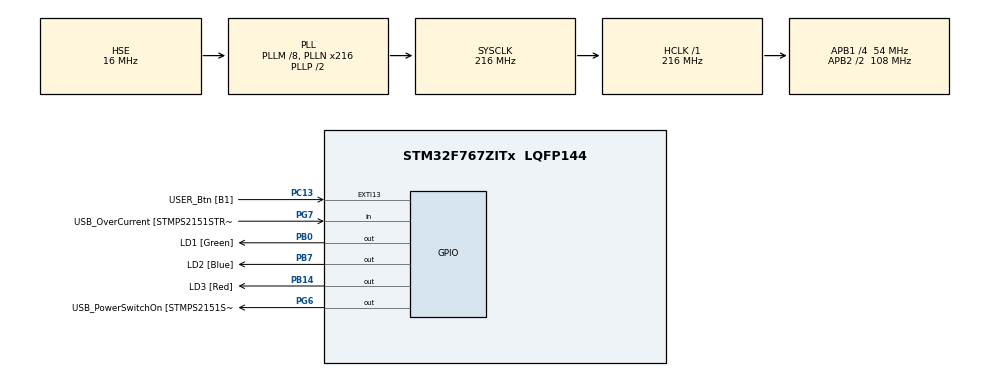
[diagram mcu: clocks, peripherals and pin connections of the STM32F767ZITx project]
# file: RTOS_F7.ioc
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Mcu.Family=STM32F7
Mcu.Name=STM32F767ZITx
Mcu.Package=LQFP144
NVIC.PriorityGroup=NVIC_PRIORITYGROUP_4
NVIC.TIM6_DAC_IRQn=true\:15\:0\:false\:false\:true\:false\:true\:true
NVIC.TimeBase=TIM6_DAC_IRQn
NVIC.TimeBaseIP=TIM6
PA1.GPIO_Label=RMII_REF_CLK [LAN8742A-CZ-TR_REFCLK0]
PA1.Signal=ETH_REF_CLK
PA10.GPIO_Label=USB_ID
PA10.Signal=USB_OTG_FS_ID
PA11.GPIO_Label=USB_DM
PA11.Signal=USB_OTG_FS_DM
PA12.GPIO_Label=USB_DP
PA12.Signal=USB_OTG_FS_DP
PA13.GPIO_Label=TMS
PA13.Mode=Serial_Wire
PA13.Signal=SYS_JTMS-SWDIO
PA14.GPIO_Label=TCK
PA14.Mode=Serial_Wire
PA14.Signal=SYS_JTCK-SWCLK
PA2.GPIO_Label=RMII_MDIO [LAN8742A-CZ-TR_MDIO]
PA2.Signal=ETH_MDIO
PA7.GPIO_Label=RMII_CRS_DV [LAN8742A-CZ-TR_CRS_DV]
PA7.Signal=ETH_CRS_DV
PA8.GPIO_Label=USB_SOF [TP1]
PA8.Signal=USB_OTG_FS_SOF
PA9.GPIO_Label=USB_VBUS
PA9.Signal=USB_OTG_FS_VBUS
PB0.GPIO_Label=LD1 [Green]
PB0.Signal=GPIO_Output
PB13.GPIO_Label=RMII_TXD1 [LAN8742A-CZ-TR_TXD1]
PB13.Signal=ETH_TXD1
PB14.GPIO_Label=LD3 [Red]
PB14.Signal=GPIO_Output
PB3.GPIO_Label=SW0
PB3.Signal=SYS_JTDO-SWO
PB7.GPIO_Label=LD2 [Blue]
PB7.Signal=GPIO_Output
PC1.GPIO_Label=RMII_MDC [LAN8742A-CZ-TR_MDC]
PC1.Signal=ETH_MDC
PC13.GPIO_Label=USER_Btn [B1]
PC13.Signal=GPXTI13
PC14/OSC32_IN.Signal=RCC_OSC32_IN
PC15/OSC32_OUT.Signal=RCC_OSC32_OUT
PC4.GPIO_Label=RMII_RXD0 [LAN8742A-CZ-TR_RXD0]
PC4.Signal=ETH_RXD0
PC5.GPIO_Label=RMII_RXD1 [LAN8742A-CZ-TR_RXD1]
PC5.Signal=ETH_RXD1
PD8.GPIO_Label=STLK_RX [STM32F103CBT6_PA3]
PD8.Signal=USART3_TX
PD9.GPIO_Label=STLK_TX [STM32F103CBT6_PA2]
PD9.Signal=USART3_RX
PG11.GPIO_Label=RMII_TX_EN [LAN8742A-CZ-TR_TXEN]
PG11.Signal=ETH_TX_EN
PG13.GPIO_Label=RMII_TXD0 [LAN8742A-CZ-TR_TXD0]
PG13.Signal=ETH_TXD0
PG6.GPIO_Label=USB_PowerSwitchOn [STMPS2151STR_EN]
PG6.Signal=GPIO_Output
PG7.GPIO_Label=USB_OverCurrent [STMPS2151STR_FAULT]
PG7.Signal=GPIO_Input
PH0/OSC_IN.GPIO_Label=MCO [STM32F103CBT6_PA8]
PH0/OSC_IN.Mode=HSE-External-Oscillator
PH0/OSC_IN.Signal=RCC_OSC_IN
PH1/OSC_OUT.Mode=HSE-External-Oscillator
PH1/OSC_OUT.Signal=RCC_OSC_OUT
ProjectManager.HeapSize=0x200
ProjectManager.StackSize=0x400
ProjectManager.TargetToolchain=STM32CubeIDE
RCC.48MHZClocksFreq_Value=24000000
RCC.AHBFreq_Value=216000000
RCC.APB1CLKDivider=RCC_HCLK_DIV4
RCC.APB1Freq_Value=54000000
RCC.APB1TimFreq_Value=108000000
RCC.APB2CLKDivider=RCC_HCLK_DIV2
RCC.APB2Freq_Value=108000000
RCC.APB2TimFreq_Value=216000000
RCC.CortexFreq_Value=216000000
RCC.HCLKFreq_Value=216000000
RCC.HSE_VALUE=16000000
RCC.HSI_VALUE=16000000
RCC.LSE_VALUE=32768
RCC.PLLM=8
RCC.PLLMUL=RCC_PLL_MUL9
RCC.PLLN=216
RCC.PLLSourceVirtual=RCC_PLLSOURCE_HSE
RCC.PRESCALERUSB=RCC_USBCLKSOURCE_PLL_DIV1_5
RCC.SYSCLKFreq_VALUE=216000000
RCC.SYSCLKSource=RCC_SYSCLKSOURCE_PLLCLK
RCC.SYSCLKSourceVirtual=RCC_SYSCLKSOURCE_PLLCLK
RCC.USBFreq_Value=216000000
RCC.VCOOutputFreq_Value=432000000
VP_SYS_VS_tim6.Mode=TIM6
board=NUCLEO-F767ZI

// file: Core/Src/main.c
/* USER CODE BEGIN Header */
/**
  ******************************************************************************
  * @file           : main.c
  * @brief          : Main program body
  ******************************************************************************
  * @attention
  *
  * Copyright (c) 2022 STMicroelectronics.
  * All rights reserved.
  *
  * This software is licensed under terms that can be found in the LICENSE file
  * in the root directory of this software component.
  * If no LICENSE file comes with this software, it is provided AS-IS.
  *
  ******************************************************************************
  */
/* USER CODE END Header */
#include "main.h"
#include"FreeRTOS.h"
#include"task.h"
#include<stdio.h>

void SystemClock_Config(void);
static void MX_GPIO_Init(void);
/* USER CODE BEGIN PFP */
static void task1_handler (void *parameters)  ;
static void task2_handler (void *parameters)  ;
/* USER CODE END PFP */

/* USER CODE BEGIN 0 */
#define DWT_CTRL (*(volatile uint32_t *)0xE0001000)
/* USER CODE END 0 */

int main(void)
{
  /* USER CODE BEGIN 1 */
	TaskHandle_t  task1_handle ;
	TaskHandle_t  task2_handle  ;
	BaseType_t status ;
  /* USER CODE END 1 */

  /* MCU Configuration--------------------------------------------------------*/

  /* Reset of all peripherals, Initializes the Flash interface and the Systick. */
  HAL_Init();

  /* Configure the system clock */
  SystemClock_Config();

  /* USER CODE BEGIN SysInit */
  CoreDebug->DEMCR |= CoreDebug_DEMCR_TRCENA_Msk;
  DWT->LAR = 0xC5ACCE55;
  DWT->CYCCNT = 0;
  DWT->CTRL |= DWT_CTRL_CYCCNTENA_Msk;
  /* USER CODE END SysInit */

  /* Initialize all configured peripherals */
  MX_GPIO_Init();
  /* USER CODE BEGIN 2 */
//  DWT_CTRL |= (1<<0) ;

  SEGGER_SYSVIEW_Conf() ;
 SEGGER_SYSVIEW_Start() ;

  status = xTaskCreate(task1_handler, "Task-1", 200, "Hello LVT from task 1", 3, &task1_handle) ;
  configASSERT(status == pdPASS) ; // nếu tạo không thành công vẽ rơi vào vòng lặp vô hạn => có lỗi

  status = xTaskCreate(task2_handler, "Task-2", 200, "Hello LVT from task 2", 2, &task2_handle) ;
  configASSERT(status == pdPASS) ; // nếu tạo không thành công vẽ rơi vào vòng lặp vô hạn => có lỗi

  // start the FreeRTOS scheduler
  vTaskStartScheduler();

  /* USER CODE END 2 */

  /* Infinite loop */
  while (1)
  {

  }
}

void SystemClock_Config(void)
{
  RCC_OscInitTypeDef RCC_OscInitStruct = {0};
  RCC_ClkInitTypeDef RCC_ClkInitStruct = {0};

  /** Configure the main internal regulator output voltage
  */
  __HAL_RCC_PWR_CLK_ENABLE();
  __HAL_PWR_VOLTAGESCALING_CONFIG(PWR_REGULATOR_VOLTAGE_SCALE1);

  /** Initializes the RCC Oscillators according to the specified parameters
  * in the RCC_OscInitTypeDef structure.
  */
  RCC_OscInitStruct.OscillatorType = RCC_OSCILLATORTYPE_HSE;
  RCC_OscInitStruct.HSEState = RCC_HSE_ON;
  RCC_OscInitStruct.PLL.PLLState = RCC_PLL_ON;
  RCC_OscInitStruct.PLL.PLLSource = RCC_PLLSOURCE_HSE;
  RCC_OscInitStruct.PLL.PLLM = 8;
  RCC_OscInitStruct.PLL.PLLN = 216;
  RCC_OscInitStruct.PLL.PLLP = RCC_PLLP_DIV2;
  RCC_OscInitStruct.PLL.PLLQ = 2;
  RCC_OscInitStruct.PLL.PLLR = 2;
  if (HAL_RCC_OscConfig(&RCC_OscInitStruct) != HAL_OK)
  {
    Error_Handler();
  }

  /** Activate the Over-Drive mode
  */
  if (HAL_PWREx_EnableOverDrive() != HAL_OK)
  {
    Error_Handler();
  }

  /** Initializes the CPU, AHB and APB buses clocks
  */
  RCC_ClkInitStruct.ClockType = RCC_CLOCKTYPE_HCLK|RCC_CLOCKTYPE_SYSCLK
                              |RCC_CLOCKTYPE_PCLK1|RCC_CLOCKTYPE_PCLK2;
  RCC_ClkInitStruct.SYSCLKSource = RCC_SYSCLKSOURCE_PLLCLK;
  RCC_ClkInitStruct.AHBCLKDivider = RCC_SYSCLK_DIV1;
  RCC_ClkInitStruct.APB1CLKDivider = RCC_HCLK_DIV4;
  RCC_ClkInitStruct.APB2CLKDivider = RCC_HCLK_DIV2;

  if (HAL_RCC_ClockConfig(&RCC_ClkInitStruct, FLASH_LATENCY_7) != HAL_OK)
  {
    Error_Handler();
  }
}

static void MX_GPIO_Init(void)
{
  GPIO_InitTypeDef GPIO_InitStruct = {0};

  /* GPIO Ports Clock Enable */
  __HAL_RCC_GPIOC_CLK_ENABLE();
  __HAL_RCC_GPIOH_CLK_ENABLE();
  __HAL_RCC_GPIOA_CLK_ENABLE();
  __HAL_RCC_GPIOB_CLK_ENABLE();
  __HAL_RCC_GPIOD_CLK_ENABLE();
  __HAL_RCC_GPIOG_CLK_ENABLE();

  /*Configure GPIO pin Output Level */
  HAL_GPIO_WritePin(GPIOB, LD1_Pin|LD3_Pin|LD2_Pin, GPIO_PIN_RESET);

  /*Configure GPIO pin Output Level */
  HAL_GPIO_WritePin(USB_PowerSwitchOn_GPIO_Port, USB_PowerSwitchOn_Pin, GPIO_PIN_RESET);

  /*Configure GPIO pin : USER_Btn_Pin */
  GPIO_InitStruct.Pin = USER_Btn_Pin;
  GPIO_InitStruct.Mode = GPIO_MODE_IT_RISING;
  GPIO_InitStruct.Pull = GPIO_NOPULL;
  HAL_GPIO_Init(USER_Btn_GPIO_Port, &GPIO_InitStruct);

  /*Configure GPIO pins : RMII_MDC_Pin RMII_RXD0_Pin RMII_RXD1_Pin */
  GPIO_InitStruct.Pin = RMII_MDC_Pin|RMII_RXD0_Pin|RMII_RXD1_Pin;
  GPIO_InitStruct.Mode = GPIO_MODE_AF_PP;
  GPIO_InitStruct.Pull = GPIO_NOPULL;
  GPIO_InitStruct.Speed = GPIO_SPEED_FREQ_VERY_HIGH;
  GPIO_InitStruct.Alternate = GPIO_AF11_ETH;
  HAL_GPIO_Init(GPIOC, &GPIO_InitStruct);

  /*Configure GPIO pins : RMII_REF_CLK_Pin RMII_MDIO_Pin RMII_CRS_DV_Pin */
  GPIO_InitStruct.Pin = RMII_REF_CLK_Pin|RMII_MDIO_Pin|RMII_CRS_DV_Pin;
  GPIO_InitStruct.Mode = GPIO_MODE_AF_PP;
  GPIO_InitStruct.Pull = GPIO_NOPULL;
  GPIO_InitStruct.Speed = GPIO_SPEED_FREQ_VERY_HIGH;
  GPIO_InitStruct.Alternate = GPIO_AF11_ETH;
  HAL_GPIO_Init(GPIOA, &GPIO_InitStruct);

  /*Configure GPIO pins : LD1_Pin LD3_Pin LD2_Pin */
  GPIO_InitStruct.Pin = LD1_Pin|LD3_Pin|LD2_Pin;
  GPIO_InitStruct.Mode = GPIO_MODE_OUTPUT_PP;
  GPIO_InitStruct.Pull = GPIO_NOPULL;
  GPIO_InitStruct.Speed = GPIO_SPEED_FREQ_LOW;
  HAL_GPIO_Init(GPIOB, &GPIO_InitStruct);

  /*Configure GPIO pin : RMII_TXD1_Pin */
  GPIO_InitStruct.Pin = RMII_TXD1_Pin;
  GPIO_InitStruct.Mode = GPIO_MODE_AF_PP;
  GPIO_InitStruct.Pull = GPIO_NOPULL;
  GPIO_InitStruct.Speed = GPIO_SPEED_FREQ_VERY_HIGH;
  GPIO_InitStruct.Alternate = GPIO_AF11_ETH;
  HAL_GPIO_Init(RMII_TXD1_GPIO_Port, &GPIO_InitStruct);

  /*Configure GPIO pins : STLK_RX_Pin STLK_TX_Pin */
  GPIO_InitStruct.Pin = STLK_RX_Pin|STLK_TX_Pin;
  GPIO_InitStruct.Mode = GPIO_MODE_AF_PP;
  GPIO_InitStruct.Pull = GPIO_NOPULL;
  GPIO_InitStruct.Speed = GPIO_SPEED_FREQ_VERY_HIGH;
  GPIO_InitStruct.Alternate = GPIO_AF7_USART3;
  HAL_GPIO_Init(GPIOD, &GPIO_InitStruct);

  /*Configure GPIO pin : USB_PowerSwitchOn_Pin */
  GPIO_InitStruct.Pin = USB_PowerSwitchOn_Pin;
  GPIO_InitStruct.Mode = GPIO_MODE_OUTPUT_PP;
  GPIO_InitStruct.Pull = GPIO_NOPULL;
  GPIO_InitStruct.Speed = GPIO_SPEED_FREQ_LOW;
  HAL_GPIO_Init(USB_PowerSwitchOn_GPIO_Port, &GPIO_InitStruct);

  /*Configure GPIO pin : USB_OverCurrent_Pin */
  GPIO_InitStruct.Pin = USB_OverCurrent_Pin;
  GPIO_InitStruct.Mode = GPIO_MODE_INPUT;
  GPIO_InitStruct.Pull = GPIO_NOPULL;
  HAL_GPIO_Init(USB_OverCurrent_GPIO_Port, &GPIO_InitStruct);

  /*Configure GPIO pins : USB_SOF_Pin USB_ID_Pin USB_DM_Pin USB_DP_Pin */
  GPIO_InitStruct.Pin = USB_SOF_Pin|USB_ID_Pin|USB_DM_Pin|USB_DP_Pin;
  GPIO_InitStruct.Mode = GPIO_MODE_AF_PP;
  GPIO_InitStruct.Pull = GPIO_NOPULL;
  GPIO_InitStruct.Speed = GPIO_SPEED_FREQ_VERY_HIGH;
  GPIO_InitStruct.Alternate = GPIO_AF10_OTG_FS;
  HAL_GPIO_Init(GPIOA, &GPIO_InitStruct);

  /*Configure GPIO pin : USB_VBUS_Pin */
  GPIO_InitStruct.Pin = USB_VBUS_Pin;
  GPIO_InitStruct.Mode = GPIO_MODE_INPUT;
  GPIO_InitStruct.Pull = GPIO_NOPULL;
  HAL_GPIO_Init(USB_VBUS_GPIO_Port, &GPIO_InitStruct);

  /*Configure GPIO pins : RMII_TX_EN_Pin RMII_TXD0_Pin */
  GPIO_InitStruct.Pin = RMII_TX_EN_Pin|RMII_TXD0_Pin;
  GPIO_InitStruct.Mode = GPIO_MODE_AF_PP;
  GPIO_InitStruct.Pull = GPIO_NOPULL;
  GPIO_InitStruct.Speed = GPIO_SPEED_FREQ_VERY_HIGH;
  GPIO_InitStruct.Alternate = GPIO_AF11_ETH;
  HAL_GPIO_Init(GPIOG, &GPIO_InitStruct);

}

/* USER CODE BEGIN 4 */
/*-----------------------------------------------------------*/
void vAssertCalled(uint32_t ulLine, const char *pcFile)
{
    volatile unsigned long ul = 0;
    (void)pcFile;
    (void)ulLine;
    taskENTER_CRITICAL();
    {
        /* Set ul to a non-zero value using the debugger to step out of this
        function. */
        while (ul == 0)
        {
            __NOP();
        }
    }
    taskEXIT_CRITICAL();
}

static void task1_handler (void *parameters)   // Static do function này chỉ sử dụng trong phạm vi fine này
{
	char message[100];
	while(1)
	{
		 printf ("%s\n",(char*)parameters) ;
		snprintf (message,100,"%s\n",(char*)parameters); // �?ịnh dạng lại thành một chuỗi
		SEGGER_SYSVIEW_PrintfTarget(message);

		vTaskDelay(pdMS_TO_TICKS(1));
		// xTaskNotifyWait(0, 0, NULL,pdMS_TO_TICKS(1));
	}

}

static void task2_handler(void *parameters) // Static do function này chỉ sử dụng trong phạm vi fine này

{
	char message[100];
	while(1)
	{
		printf ("%s\n",(char*)parameters) ;
		snprintf (message,100,"%s\n",(char*)parameters); // �?ịnh dạng lại thành một chuỗi
		SEGGER_SYSVIEW_PrintfTarget(message);
		vTaskDelay(pdMS_TO_TICKS(2));
		// xTaskNotifyWait(0, 0, NULL,pdMS_TO_TICKS(2));
	}

}

/* USER CODE END 4 */

void HAL_TIM_PeriodElapsedCallback(TIM_HandleTypeDef *htim)
{
  if (htim->Instance == TIM6) {
    HAL_IncTick();
  }
}

void Error_Handler(void)
{
  __disable_irq();
  while (1)
  {
  }
}
